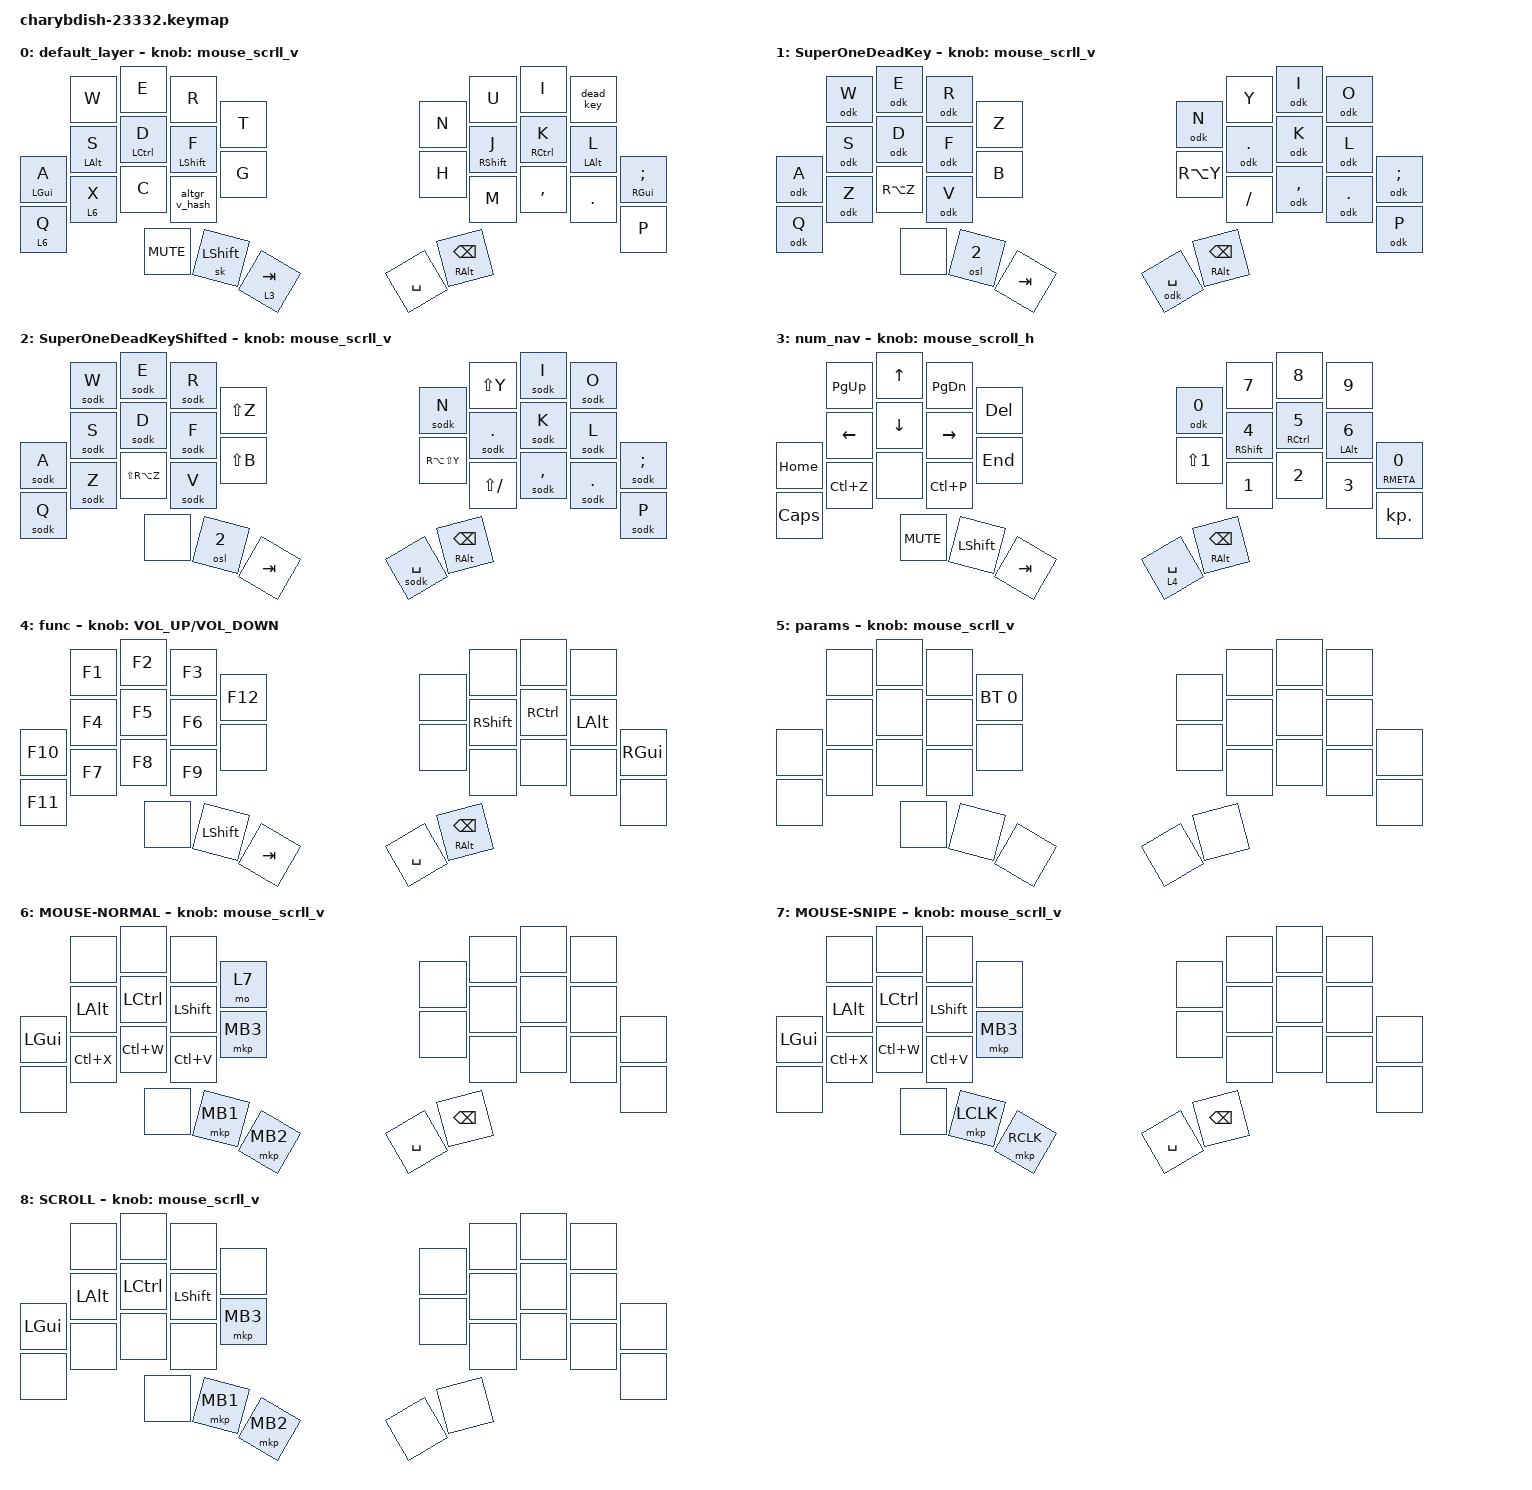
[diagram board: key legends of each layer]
#include <dt-bindings/zmk/mouse.h>
#include <behaviors/mouse_keys.dtsi>
#include <input/processors.dtsi>
#include <dt-bindings/zmk/input_transform.h>
#include <behaviors/mouse_keys.dtsi>

#define ZMK_POINTING_DEFAULT_SCRL_VAL 72
#define MS LSHFT
#define MA LALT
#define MC LCTL

#include <zephyr/dt-bindings/input/input-event-codes.h>
#include <behaviors.dtsi>
#include <dt-bindings/zmk/bt.h>
#include <dt-bindings/zmk/keys.h>
#include <dt-bindings/zmk/pointing.h>

/* --- KEYMAP CONFIG --- */
// ╭──────┬──────┬──────┬──────┬──────╮  ╭──────┬──────┬──────┬──────┬──────╮
//           00     01     02     03        04     05     06     07         
// ├──────┼──────┼──────┼──────┼──────┤  ├──────┼──────┼──────┼──────┼──────┤
//    08     09     10     11     12        13     14     15     16     17   
// ├──────┼──────┼──────┼──────┼──────┤  ├──────┼──────┼──────┼──────┼──────┤
//    18     19     20     21                      22     23     24     25   
// ╰──────┴──────┼──────┼──────┼──────┤  ├──────┼──────┼──────┴──────┴──────╯
//                  26     27     28        29     30
//               ╰──────┴──────┴──────╯  ╰──────┴──────╯

#define LAYER_BASE          0
#define LAYER_ODK           1
#define LAYER_ODK_SHIFT     2
#define LAYER_NUMNAV        3
#define LAYER_NUM_ROW       4
#define LAYER_FUNC          5
#define LAYER_PARAM         6
#define MOUSE_NORMAL        7
#define MOUSE_SNIPE         8
#define MOUSE_SCROLL        9

/ {
    zip_temp_layer: zip_temp_layer {
        compatible = "zmk,input-processor-temp-layer";
        #input-processor-cells = <2>;
        require-prior-idle-ms = <1500>;
    };

    behaviors {
        HMR_R: HMR_R {
            compatible = "zmk,behavior-hold-tap";
            label = "HMR_R";
            bindings = <&kp>, <&kp>;

            #binding-cells = <2>;
            tapping-term-ms = <200>;
            quick-tap-ms = <175>;
            flavor = "balanced";
            hold-trigger-key-positions = <0 1 2 3 8 9 10 11 12 18 19 20 21 26 27 28 29 30>;
            hold-trigger-on-release;
            require-prior-idle-ms = <210>;
        };

        HRM_L: HRM_L {
            compatible = "zmk,behavior-hold-tap";
            label = "HRM_L";
            bindings = <&kp>, <&kp>;

            #binding-cells = <2>;
            tapping-term-ms = <200>;
            quick-tap-ms = <175>;
            hold-trigger-on-release;
            hold-trigger-key-positions = <4 5 6 7 13 14 15 16 17 22 23 24 25 29 30 28 27 26>;
            flavor = "balanced";
            require-prior-idle-ms = <210>;
        };

        mouse_scrll_v: mouse_scrll_v {
            compatible = "zmk,behavior-sensor-rotate";
            label = "MOUSE_SCRLL_V";
            #sensor-binding-cells = <0>;
            bindings = <&msc SCRL_DOWN>, <&msc SCRL_UP>;

            tap-ms = <20>;
        };

        mouse_scroll_h: mouse_scroll_h {
            compatible = "zmk,behavior-sensor-rotate";
            label = "MOUSE_SCROLL_H";
            #sensor-binding-cells = <0>;
            bindings = <&msc SCRL_LEFT>, <&msc SCRL_RIGHT>;

            tap-ms = <20>;
        };

        osm: one_shot_modifier {
            compatible = "zmk,behavior-macro-one-param";
            #binding-cells = <1>;
            tap-ms = <0>;
            wait-ms = <0>;
            bindings =
                <&macro_param_1to1>,
                <&macro_tap>,
                <&sk MACRO_PLACEHOLDER>;
        };

        osl: one_shot_layer {
            compatible = "zmk,behavior-macro-one-param";
            #binding-cells = <1>;
            tap-ms = <0>;
            wait-ms = <0>;
            bindings =
                <&macro_param_1to1>,
                <&macro_tap>,
                <&sl MACRO_PLACEHOLDER>;
        };

        // I mean, it wants everything at the same time

        bls: bisexual_layer_switch {
            compatible = "zmk,behavior-hold-tap";
            #binding-cells = <2>;
            tapping-term-ms = <200>;
            flavor = "tap-preferred";
            bindings = <&mo>, <&osl>;
        };

        dead_key: dead_key {
            compatible = "zmk,behavior-mod-morph";
            #binding-cells = <0>;
            bindings = <&bls 1 1>, <&kp O>;

            mods = <(MOD_LSFT|MOD_RSFT|MOD_RALT|MOD_LGUI)>;
            keep-mods = <(MOD_LSFT|MOD_RSFT|MOD_RALT|MOD_LGUI|MOD_LCTL)>;
        };

        nsodk: no_shift_one_dead_key {
            compatible = "zmk,behavior-mod-morph";
            #binding-cells = <0>;
            bindings = <&kp O>, <&kp O>;

            mods = <(MOD_LSFT)>;
        };

        q_ctrl_z: q_ctrl_z {
            compatible = "zmk,behavior-mod-morph";
            label = "Q_CTRL_Z";
            bindings = <&kp Q>, <&kp Z>;

            #binding-cells = <0>;
            mods = <(MOD_RCTL|MOD_LCTL)>;
            keep-mods = <(MOD_LCTL|MOD_RCTL)>;
        };

        mouse_q_ctrl_z: mouse_q_ctrl_z {
            compatible = "zmk,behavior-hold-tap";
            label = "MOUSE_Q_CTRL_Z";
            bindings = <&mo>, <&q_ctrl_z>;

            #binding-cells = <2>;
            flavor = "balanced";
            tapping-term-ms = <280>;
            quick-tap-ms = <175>;
            require-prior-idle-ms = <210>;
            hold-trigger-on-release;
        };

        altgr_v_hash: altgr_v_hash {
            compatible = "zmk,behavior-mod-morph";
            label = "ALTGR_V_HASH";
            bindings = <&kp V>, <&kp RA(B)>;

            #binding-cells = <0>;
            mods = <(MOD_RALT)>;
        };

        worst_space: worst_space {
            compatible = "zmk,behavior-mod-morph";
            label = "WORST_SPACE";
            bindings = <&kp SPACE>, <&kp SPACE>;

            #binding-cells = <0>;
            mods = <(MOD_LSFT|MOD_RSFT)>;
        };
    };

    macros {
        odk: one_dead_key {
            compatible = "zmk,behavior-macro-one-param";
            #binding-cells = <1>;
            tap-ms = <0>;
            wait-ms = <0>;
            bindings =
                <&macro_tap>,
                <&nsodk &macro_param_1to1>,
                <&macro_tap>,
                <&kp MACRO_PLACEHOLDER>;
        };

        sodk: shifted_one_dead_key {
            compatible = "zmk,behavior-macro-one-param";
            #binding-cells = <1>;
            tap-ms = <0>;
            wait-ms = <0>;
            bindings =
                <&macro_tap>,
                <&nsodk>,
                <&macro_press>,
                <&kp LSHFT &macro_param_1to1>,
                <&macro_tap>,
                <&kp MACRO_PLACEHOLDER>,
                <&macro_release>,
                <&kp LSHFT>;
        };
    };

    combos {
        compatible = "zmk,combos";

        enter {
            bindings = <&kp ENTER>;
            key-positions = <16 15 14>;
        };

        printscreen {
            bindings = <&kp PRINTSCREEN>;
            key-positions = <21 19 10>;
            require-prior-idle-ms = <250>;
        };

        capslock {
            bindings = <&kp CAPSLOCK>;
            key-positions = <3 4>;
            require-prior-idle-ms = <250>;
        };

        kp_divide {
            bindings = <&kp KP_DIVIDE>;
            key-positions = <6 15>;
            layers = <3>;
            require-prior-idle-ms = <250>;
        };

        kp_mult {
            bindings = <&kp KP_ASTERISK>;
            key-positions = <15 23>;
            layers = <3>;
            require-prior-idle-ms = <250>;
        };

        shift_tab {
            bindings = <&kp LS(TAB)>;
            key-positions = <27 28>;
            layers = <0>;
            require-prior-idle-ms = <250>;
        };

        ctrl_backspace {
            bindings = <&kp LC(BACKSPACE)>;
            key-positions = <30 29>;
            layers = <0>;
            require-prior-idle-ms = <250>;
        };

        scroll_layer {
            bindings = <&mo 8>;
            key-positions = <19 20>;
            layers = <0>;
            require-prior-idle-ms = <250>;
        };

        kp_q {
            bindings = <&kp Q>;
            key-positions = <9 0>;
            layers = <0>;
        };

        odk_q {
            bindings = <&odk Q>;
            key-positions = <9 0>;
            layers = <1>;
        };

        sodk_q {
            bindings = <&odk Q>;
            key-positions = <9 0>;
            layers = <2>;
        };

        kp_y {
            bindings = <&kp P>;
            key-positions = <16 7>;
            layers = <0>;
        };

        odk_y {
            bindings = <&odk P>;
            key-positions = <16 7>;
            layers = <1>;
        };

        sodk_y {
            bindings = <&odk P>;
            key-positions = <16 7>;
            layers = <2>;
        };

        backspace {
            bindings = <&kp BACKSPACE>;
            key-positions = <6 7>;
            require-prior-idle-ms = <0>;
            timeout-ms = <20>;
        };

        tab {
            bindings = <&kp TAB>;
            key-positions = <9 10>;
            require-prior-idle-ms = <0>;
            timeout-ms = <20>;
        };

        esc {
            bindings = <&kp ESCAPE>;
            key-positions = <1 0>;
            require-prior-idle-ms = <0>;
            timeout-ms = <20>;
        };

        numpad_plus {
            bindings = <&kp KP_PLUS>;
            key-positions = <16 24>;
            require-prior-idle-ms = <250>;
            layers = <3>;
        };

        numpad_minus {
            bindings = <&kp KP_MINUS>;
            key-positions = <16 7>;
            require-prior-idle-ms = <250>;
            layers = <3>;
        };

        params {
            bindings = <&tog 5>;
            key-positions = <22 23 24>;
            layers = <5 4>;
        };
    };

    keymap {
        compatible = "zmk,keymap";

        default_layer {
            bindings = <
&kp W              &kp E              &kp R           &kp T           &kp N      &kp U      &kp I                    &dead_key
&HRM_L LEFT_GUI A  &HRM_L LEFT_ALT S  &HRM_L LCTRL D  &HRM_L LSHFT F  &kp G      &kp H      &HMR_R RSHIFT J          &HMR_R RCTRL K  &HMR_R LEFT_ALT L  &HMR_R RGUI SEMI
&lt 6 Q            &lt 6 X            &kp C           &altgr_v_hash   &kp M      &kp COMMA  &kp DOT                  &kp P
                                      &kp K_MUTE      &sk LEFT_SHIFT  &lt 3 TAB  &kp SPACE  &mt RIGHT_ALT BACKSPACE
            >;

            sensor-bindings = <&mouse_scrll_v>;
        };

        super_odk {
            display-name = "SuperOneDeadKey";
            bindings = <
&odk W  &odk E  &odk R     &kp Z   &odk N     &kp Y       &odk I                   &odk O
&odk A  &odk S  &odk D     &odk F  &kp B      &kp RA(Y)   &odk PERIOD              &odk K  &odk L  &odk SEMI
&odk Q  &odk Z  &kp RA(Z)  &odk V  &kp SLASH  &odk COMMA  &odk DOT                 &odk P
                &none      &osl 2  &kp TAB    &odk SPACE  &mt RIGHT_ALT BACKSPACE
            >;

            sensor-bindings = <&mouse_scrll_v>;
        };

        super_odk_shift {
            display-name = "SuperOneDeadKeyShifted";
            bindings = <
&sodk W  &sodk E  &sodk R        &kp LS(Z)  &sodk N        &kp LS(Y)      &sodk I                  &sodk O
&sodk A  &sodk S  &sodk D        &sodk F    &kp LS(B)      &kp RA(LS(Y))  &sodk PERIOD             &sodk K  &sodk L  &sodk SEMI
&sodk Q  &sodk Z  &kp LS(RA(Z))  &sodk V    &kp LS(SLASH)  &sodk COMMA    &sodk DOT                &sodk P
                  &none          &osl 2     &kp TAB        &sodk SPACE    &mt RIGHT_ALT BACKSPACE
            >;

            sensor-bindings = <&mouse_scrll_v>;
        };

        num_nav {
            bindings = <
&kp PAGE_UP   &kp UP_ARROW    &kp PAGE_DOWN   &kp DELETE  &odk N0       &kp N7            &kp N8                   &kp N9
&kp HOME      &kp LEFT_ARROW  &kp DOWN_ARROW  &kp RIGHT   &kp END       &kp LS(NUMBER_1)  &HMR_R RSHFT NUMBER_4    &HMR_R RCTRL N5  &HMR_R LALT NUMBER_6  &HMR_R RMETA N0
&kp CAPSLOCK  &kp LC(Z)       &none           &kp LC(P)   &kp NUMBER_1  &kp NUMBER_2      &kp NUMBER_3             &kp KP_DOT
                              &kp K_MUTE      &kp LSHFT   &kp TAB       &lt 4 SPACE       &mt RIGHT_ALT BACKSPACE
            >;

            sensor-bindings = <&mouse_scroll_h>;
        };

        func {
            bindings = <
&kp F1   &kp F2  &kp F3  &kp F12    &none    &none      &none               &none
&kp F10  &kp F4  &kp F5  &kp F6     &none    &none      &kp RSHIFT          &kp RCTRL  &kp LEFT_ALT  &kp RGUI
&kp F11  &kp F7  &kp F8  &kp F9     &none    &none      &none               &none
                 &none   &kp LSHFT  &kp TAB  &kp SPACE  &mt RALT BACKSPACE
            >;

            sensor-bindings = <&inc_dec_kp K_VOLUME_UP K_VOLUME_DOWN>;
        };

        params {
            bindings = <
&none  &none  &none  &bt BT_SEL 0  &none  &none  &none  &none
&none  &none  &none  &none         &none  &none  &none  &none  &none  &none
&none  &none  &none  &none         &none  &none  &none  &none
              &none  &none         &none  &none  &none
            >;

            sensor-bindings = <&mouse_scrll_v>;
        };

        MOUSE-NORMAL {
            bindings = <
&none     &none      &none      &mo 7      &none     &none      &none          &none
&kp LGUI  &kp LALT   &kp LCTRL  &kp LSHFT  &mkp MB3  &none      &none          &none  &none  &none
&none     &kp LC(X)  &kp LC(W)  &kp LC(V)  &none     &none      &none          &none
                     &none      &mkp MB1   &mkp MB2  &kp SPACE  &kp BACKSPACE
            >;

            sensor-bindings = <&mouse_scrll_v>;
        };

        MOUSE-SNIPE {
            bindings = <
&none     &none      &none      &none      &none      &none      &none          &none
&kp LGUI  &kp LALT   &kp LCTRL  &kp LSHFT  &mkp MB3   &none      &none          &none  &none  &none
&none     &kp LC(X)  &kp LC(W)  &kp LC(V)  &none      &none      &none          &none
                     &none      &mkp LCLK  &mkp RCLK  &kp SPACE  &kp BACKSPACE
            >;

            sensor-bindings = <&mouse_scrll_v>;
        };

        SCROLL {
            bindings = <
&none     &none     &none      &none      &none     &none  &none  &none
&kp LGUI  &kp LALT  &kp LCTRL  &kp LSHFT  &mkp MB3  &none  &none  &none  &none  &none
&none     &none     &none      &none      &none     &none  &none  &none
                    &none      &mkp MB1   &mkp MB2  &none  &none
            >;

            sensor-bindings = <&mouse_scrll_v>;
        };
    };
};
